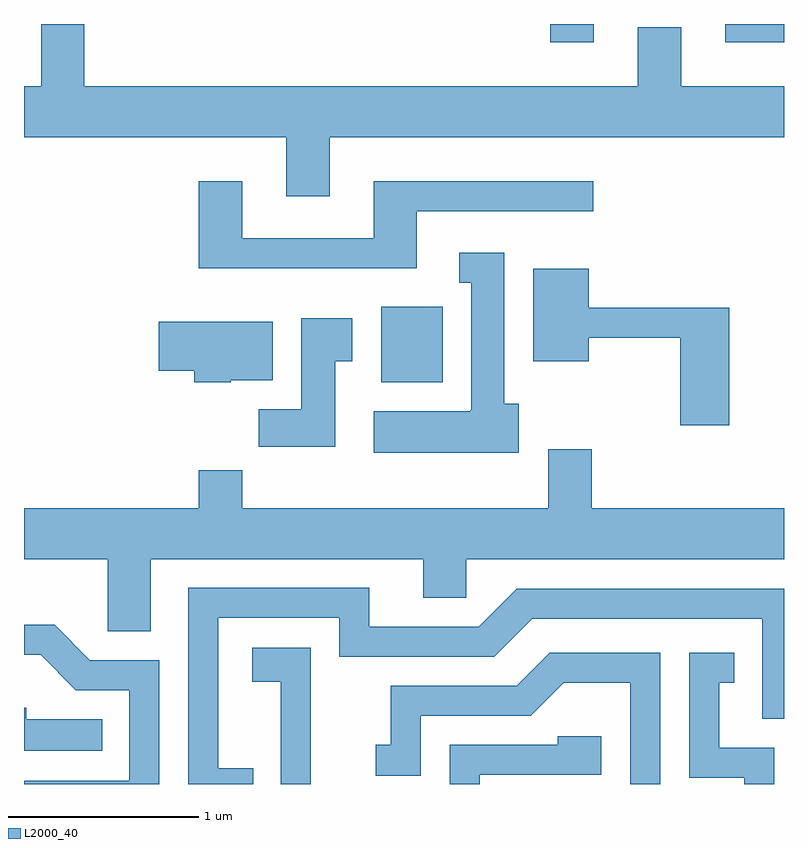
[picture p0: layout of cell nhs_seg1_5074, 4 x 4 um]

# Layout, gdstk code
import gdstk
lib = gdstk.Library(unit=1e-6, precision=1e-09)
def R(c, l, rs):  # rectangles x0, y0, x1, y1
    for r in rs: c.add(gdstk.rectangle(r[:2], r[2:], *l))
def P(c, l, *ps):  # polygons
    for p in ps: c.add(gdstk.Polygon(p, *l))
L2000_40 = (2000, 40)

nhs_seg1_5074 = lib.new_cell('nhs_seg1_5074')
R(nhs_seg1_5074, L2000_40, [(339.491,913.826,339.814,914.224), (340.381,915.616,340.609,915.712), (341.301,915.616,341.611,915.712)])
P(nhs_seg1_5074, L2000_40, [(339.219,915.116),(341.611,915.116),(341.611,915.384),(341.069,915.384),(341.069,915.694),(340.841,915.694),(340.841,915.384),(337.929,915.384),(337.929,915.712),(337.701,915.712),(337.701,915.384),(337.611,915.384),(337.611,915.116),(338.991,915.116),(338.991,914.806),(339.219,914.806)],
  [(339.679,914.726),(340.608,914.726),(340.608,914.884),(339.451,914.884),(339.451,914.584),(338.759,914.584),(338.759,914.884),(338.531,914.884),(338.531,914.426),(339.679,914.426)],
  [(340.214,913.714),(340.139,913.714),(340.139,914.509),(339.903,914.509),(339.903,914.351),(339.966,914.351),(339.966,913.68),(339.96,913.68),(339.96,913.674),(339.451,913.674),(339.451,913.456),(340.214,913.456)],
  [(341.324,914.219),(340.584,914.219),(340.584,914.424),(340.291,914.424),(340.291,913.936),(340.584,913.936),(340.584,914.061),(341.066,914.061),(341.066,913.601),(341.324,913.601)],
  [(339.249,913.936),(339.339,913.936),(339.339,914.164),(339.071,914.164),(339.071,913.684),(338.846,913.684),(338.846,913.486),(339.249,913.486)],
  [(338.7,913.836),(338.919,913.836),(338.919,914.144),(338.321,914.144),(338.321,913.886),(338.506,913.886),(338.506,913.826),(338.7,913.826)],
  [(338.279,912.896),(339.711,912.896),(339.711,912.691),(339.939,912.691),(339.939,912.896),(341.611,912.896),(341.611,913.164),(340.599,913.164),(340.599,913.474),(340.371,913.474),(340.371,913.164),(338.759,913.164),(338.759,913.364),(338.531,913.364),(338.531,913.164),(337.611,913.164),(337.611,912.896),(338.051,912.896),(338.051,912.516),(338.279,912.516)],
  [(338.818,911.794),(338.634,911.794),(338.634,912.586),(339.271,912.586),(339.271,912.381),(340.087,912.381),(340.287,912.581),(341.496,912.581),(341.496,912.056),(341.611,912.056),(341.611,912.739),(340.204,912.739),(340.004,912.539),(339.429,912.539),(339.429,912.744),(338.476,912.744),(338.476,911.712),(338.818,911.712)],
  [(338.324,912.364),(337.957,912.364),(337.772,912.549),(337.611,912.549),(337.611,912.391),(337.699,912.391),(337.884,912.206),(338.166,912.206),(338.166,911.729),(337.611,911.729),(337.611,911.712),(338.324,911.712)],
  [(339.119,912.429),(338.811,912.429),(338.811,912.251),(338.961,912.251),(338.961,911.712),(339.119,911.712)],
  [(340.959,912.404),(340.379,912.404),(340.204,912.229),(339.541,912.229),(339.541,911.919),(339.463,911.919),(339.463,911.756),(339.699,911.756),(339.699,912.071),(340.277,912.071),(340.452,912.246),(340.801,912.246),(340.801,911.712),(340.959,911.712)],
  [(341.559,911.904),(341.269,911.904),(341.269,912.246),(341.348,912.246),(341.348,912.404),(341.111,912.404),(341.111,911.746),(341.401,911.746),(341.401,911.712),(341.559,911.712)],
  [(338.023,912.054),(337.624,912.054),(337.624,912.114),(337.611,912.114),(337.611,911.886),(338.023,911.886)],
  [(340.009,911.761),(340.649,911.761),(340.649,911.964),(340.421,911.964),(340.421,911.919),(339.851,911.919),(339.851,911.712),(340.009,911.712)])

lib.write_gds('nhs_seg1_5074.gds')
